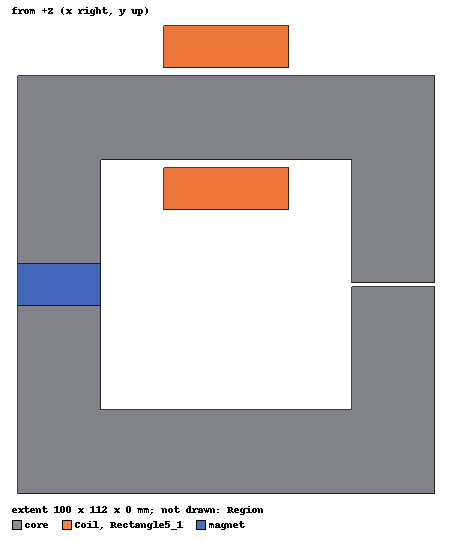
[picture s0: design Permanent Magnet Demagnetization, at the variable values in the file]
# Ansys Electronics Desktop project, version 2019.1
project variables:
  $dm = 10mm
  $g = 1mm
  $Sigma = 58000000*(1/(1+0.00393*($Coil_Temp-20cel)))  # Copper Conductivity in S/m
  $Coil_Temp = 20cel  # Temperature of Coil in Celsius
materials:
  N38UH_Y_axis: permittivity=1 permeability{BType=normal HUnit=A_per_meter BUnit=tesla curve (-761000, -0.9901) (-760000, -0.6971) (-755000, -0.2026) (-743000, -0.0415) (-734000, 0.0008) (-725000, 0.0285) (-716000, 0.0501) (-708000, 0.0685) (-699000, 0.085) (-690000, 0.1003) (-681000, 0.1149) (-672000, 0.1288) (-663000, 0.1424) (-654000, 0.1556) (-645000, 0.1686) (-636000, 0.1814) (-627000, 0.1941) (-618000, 0.2066) (-609000, 0.2191) (-600000, 0.2314) (-591000, 0.2437) (-582000, 0.2559) (-573000, 0.268) (-564000, 0.2802) (-555000, 0.2922) (-546000, 0.3043) (-537000, 0.3163) (-528000, 0.3282) (-519000, 0.3402) (-510000, 0.3521) (-502000, 0.364) (-493000, 0.3759) (-484000, 0.3878) (-475000, 0.3997) (-466000, 0.4115) (-457000, 0.4234) (-448000, 0.4352) (-439000, 0.447) (-430000, 0.4588) (-421000, 0.4706) (-412000, 0.4824) (-403000, 0.4942) (-394000, 0.506) (-385000, 0.5178) (-376000, 0.5295) (-367000, 0.5413) (-358000, 0.5531) (-349000, 0.5648) (-340000, 0.5766) (-331000, 0.5883) (-322000, 0.6) (-313000, 0.6118) (-304000, 0.6235) (-296000, 0.6352) (-287000, 0.647) (-278000, 0.6587) (-269000, 0.6704) (-260000, 0.6821) (-251000, 0.6938) (-242000, 0.7056) (-233000, 0.7173) (-224000, 0.729) (-215000, 0.7407) (-206000, 0.7524) (-197000, 0.7641) (-188000, 0.7758) (-179000, 0.7875) (-170000, 0.7992) (-161000, 0.8109) (-152000, 0.8226) (-143000, 0.8343) (-134000, 0.846) (-125000, 0.8577) (-116000, 0.8694) (-107000, 0.881) (-99000, 0.8927) (-90000, 0.9044) (-81000, 0.9161) (-72000, 0.9278) (-63000, 0.9395) (-54000, 0.9512) (-45000, 0.9628) (-36000, 0.9745) (-27000, 0.9862) (-18000, 0.9979) (-9000, 1.0096) (0, 1.0212)} conductivity=625000 magnetic_coercivity{Magnitude=-733575.87A_per_meter DirComp1=0 DirComp2=1 DirComp3=0} lande_g_factor=2
  cast_iron: permeability=100000 conductivity=1500000
  copper: permeability=0.999991 conductivity=58000000
  vacuum: permittivity=1

design Permanent Magnet Demagnetization (Maxwell 2D, Transient, XY geometry, model units mm)
options: ModelDepth=1meter Multiplier=1
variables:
  peak_mmf = 10kA
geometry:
  core [cast_iron] = rectangle(corner=(0mm, 0mm, 0mm), x_size=10cm, y_size=10cm)
  Rectangle2 = rectangle(corner=(20mm, 20mm, 0mm), x_size=60mm, y_size=60mm)
  core.subtract(Rectangle2)
  magnet [N38UH_Y_axis] = rectangle(corner=(0mm, 50mm-$dm/2, 0mm), x_size=20mm, y_size=$dm)
  Rectangle3_1 = magnet.copy()
  core.subtract(Rectangle3_1)
  Rectangle4 = rectangle(corner=(80mm, 50mm-$g/2, 0mm), x_size=20mm, y_size=$g)
  core.subtract(Rectangle4)
  Coil [copper] = rectangle(corner=(35mm, 68mm, 0mm), x_size=30mm, y_size=10mm)
  Rectangle5_1 [copper] = Coil.duplicate_mirror(point=(48mm, 90mm, 0mm), normal=(0mm, 1mm, 0mm))
  Region [vacuum] = region(percentage_offset: +X=100, -X=100, +Y=100, -Y=100, +Z=0, -Z=0)
  point Point1 = (10mm, 50mm, 0mm)
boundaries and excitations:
  VectorPotential1: Vector Potential Edges=Region.edge(all 4) Value=0
  Coil: Coil Objects=Coil Conductor_number=1 Winding=Winding1 PolarityType=Positive
  Rectangle5_1: Coil Objects=Rectangle5_1 Conductor_number=1 Winding=Winding1 PolarityType=Negative
  Winding1: Winding Group Type=Current IsSolid=false Current=if(time<20m,0,if(time<30m,peak_mmf*sin(2*pi*50*time),0)) ParallelBranchesNum=1
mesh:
  mesh: LengthBased RefineInside Objects=[core, Coil, Rectangle5_1, magnet] MaxLength=3mm
  initial mesh: MeshMethod=AnsoftTAU
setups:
  Setup1: Transient NonlinearSolverResidual=0.0001 StopTime=50ms TimeStep=0.2ms SaveFieldsType="Every N Steps" N_Steps=1 Steps_From=0ms Steps_To=50ms ExpressionCache{CacheItem{Title=B_y1 Expression=B_y TraceID=308 ReportType=9} CacheItem{Title=H_y1 Expression=H_y TraceID=310 ReportType=9}} NumberSolveSteps=1 RangeStart=0s RangeEnd=50ms InitialTimeStep=0.002s MinTimeStep=0.001s MaxTimeStep=0.003s TimeStepErrTolerance=0.0001
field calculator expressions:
  B_y = Fundamental_Quantity(22) | ScalarY
  H_y = Fundamental_Quantity(21) | ScalarY
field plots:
  B_Vector1: B over core, magnet, Coil, Rectangle5_1 on Setup1 : Transient at Time=-1
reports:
  Winding Plot 1: FluxLinkage(Winding1) vs Time on Setup1 : Transient
  Winding Plot 2: InputCurrent(Winding1) vs Time on Setup1 : Transient
  Expression Cache Plot 1: ExprCache(B_y1) vs ExprCache(H_y1) on Setup1 : Transient
